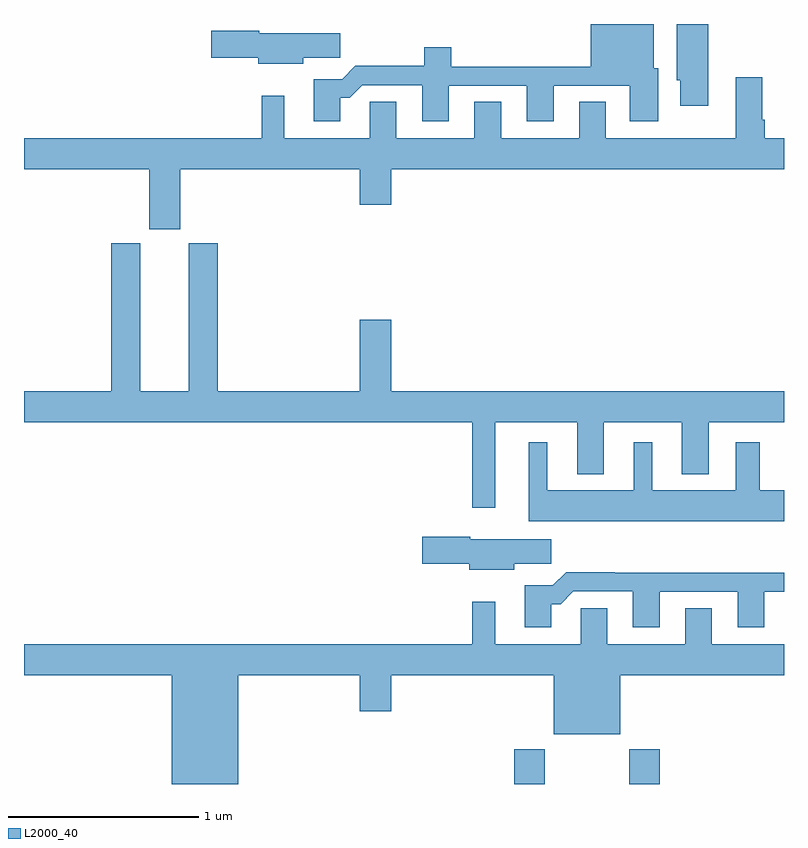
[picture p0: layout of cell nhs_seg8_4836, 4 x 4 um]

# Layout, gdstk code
import gdstk
lib = gdstk.Library(unit=1e-6, precision=1e-09)
def R(c, l, rs):  # rectangles x0, y0, x1, y1
    for r in rs: c.add(gdstk.rectangle(r[:2], r[2:], *l))
def P(c, l, *ps):  # polygons
    for p in ps: c.add(gdstk.Polygon(p, *l))
L2000_40 = (2000, 40)

nhs_seg8_4836 = lib.new_cell('nhs_seg8_4836')
R(nhs_seg8_4836, L2000_40, [(405.581,1143.9,405.741,1144.084), (406.186,1143.9,406.346,1144.084)])
P(nhs_seg8_4836, L2000_40, [(404.665,1147.511),(404.714,1147.511),(404.781,1147.578),(405.095,1147.578),(405.095,1147.389),(405.235,1147.389),(405.235,1147.575),(405.647,1147.575),(405.647,1147.389),(405.787,1147.389),(405.787,1147.575),(406.187,1147.575),(406.187,1147.389),(406.339,1147.389),(406.339,1147.668),(406.315,1147.668),(406.315,1147.9),(405.983,1147.9),(405.983,1147.676),(405.248,1147.676),(405.248,1147.777),(405.106,1147.777),(405.106,1147.679),(404.744,1147.679),(404.674,1147.609),(404.525,1147.609),(404.525,1147.389),(404.665,1147.389)],
  [(406.6,1147.9),(406.436,1147.9),(406.436,1147.605),(406.454,1147.605),(406.454,1147.47),(406.6,1147.47)],
  [(404.47,1147.723),(404.665,1147.723),(404.665,1147.852),(404.238,1147.852),(404.238,1147.865),(403.986,1147.865),(403.986,1147.723),(404.234,1147.723),(404.234,1147.691),(404.47,1147.691)],
  [(403.822,1147.136),(404.768,1147.136),(404.768,1146.948),(404.932,1146.948),(404.932,1147.136),(407,1147.136),(407,1147.3),(406.898,1147.3),(406.898,1147.396),(406.885,1147.396),(406.885,1147.621),(406.745,1147.621),(406.745,1147.3),(406.063,1147.3),(406.063,1147.49),(405.923,1147.49),(405.923,1147.3),(405.511,1147.3),(405.511,1147.49),(405.371,1147.49),(405.371,1147.3),(404.959,1147.3),(404.959,1147.49),(404.82,1147.49),(404.82,1147.3),(404.371,1147.3),(404.371,1147.522),(404.25,1147.522),(404.25,1147.3),(403,1147.3),(403,1147.136),(403.658,1147.136),(403.658,1146.819),(403.822,1146.819)],
  [(403.868,1146.747),(403.868,1145.968),(403.612,1145.968),(403.612,1146.747),(403.46,1146.747),(403.46,1145.968),(403,1145.968),(403,1145.804),(405.36,1145.804),(405.36,1145.355),(405.481,1145.355),(405.481,1145.804),(405.911,1145.804),(405.911,1145.531),(406.051,1145.531),(406.051,1145.804),(406.463,1145.804),(406.463,1145.531),(406.603,1145.531),(406.603,1145.804),(407,1145.804),(407,1145.968),(404.932,1145.968),(404.932,1146.343),(404.768,1146.343),(404.768,1145.968),(404.021,1145.968),(404.021,1146.747)],
  [(407,1145.446),(406.873,1145.446),(406.873,1145.698),(406.745,1145.698),(406.745,1145.446),(406.306,1145.446),(406.306,1145.698),(406.208,1145.698),(406.208,1145.446),(405.754,1145.446),(405.754,1145.698),(405.656,1145.698),(405.656,1145.282),(407,1145.282)],
  [(405.58,1145.059),(405.775,1145.059),(405.775,1145.188),(405.348,1145.188),(405.348,1145.201),(405.096,1145.201),(405.096,1145.059),(405.344,1145.059),(405.344,1145.027),(405.58,1145.027)],
  [(405.775,1144.847),(405.824,1144.847),(405.891,1144.914),(406.205,1144.914),(406.205,1144.725),(406.345,1144.725),(406.345,1144.911),(406.757,1144.911),(406.757,1144.725),(406.897,1144.725),(406.897,1144.911),(407,1144.911),(407,1145.012),(406.109,1145.012),(406.109,1145.015),(405.854,1145.015),(405.784,1144.945),(405.635,1144.945),(405.635,1144.725),(405.775,1144.725)],
  [(404.128,1144.472),(404.768,1144.472),(404.768,1144.284),(404.932,1144.284),(404.932,1144.472),(405.788,1144.472),(405.788,1144.163),(406.138,1144.163),(406.138,1144.472),(407,1144.472),(407,1144.636),(406.621,1144.636),(406.621,1144.826),(406.481,1144.826),(406.481,1144.636),(406.069,1144.636),(406.069,1144.826),(405.93,1144.826),(405.93,1144.636),(405.481,1144.636),(405.481,1144.858),(405.36,1144.858),(405.36,1144.636),(403,1144.636),(403,1144.472),(403.778,1144.472),(403.778,1143.9),(404.128,1143.9)])

lib.write_gds('nhs_seg8_4836.gds')
